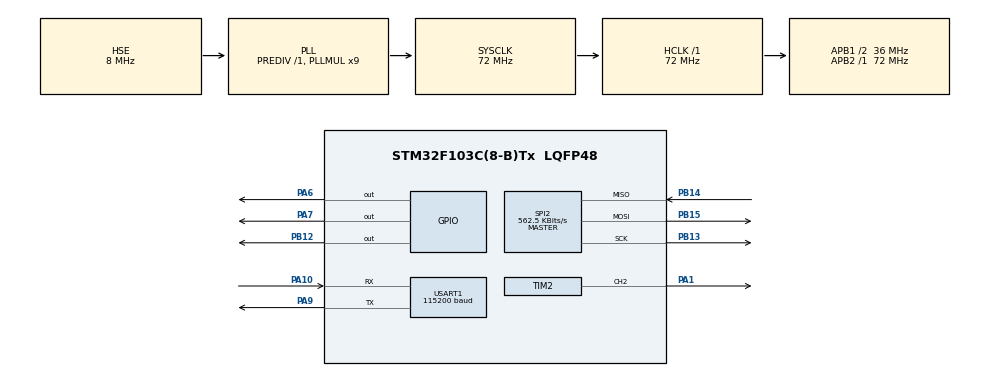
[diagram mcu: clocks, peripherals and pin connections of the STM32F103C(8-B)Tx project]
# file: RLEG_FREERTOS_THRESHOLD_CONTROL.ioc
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FREERTOS.HEAP_NUMBER=3
FREERTOS.Tasks01=DataLogging,0,128,StartTaskDataLogging,Default,NULL,Dynamic,NULL,NULL;EncoderReadings,3,128,StartTaskEncoderReadings,Default,NULL,Dynamic,NULL,NULL;ControlActuator,3,128,StartTaskActuator,Default,NULL,Dynamic,NULL,NULL
Mcu.Family=STM32F1
Mcu.Name=STM32F103C(8-B)Tx
Mcu.Package=LQFP48
NVIC.PriorityGroup=NVIC_PRIORITYGROUP_4
NVIC.TIM1_UP_IRQn=true\:0\:0\:false\:false\:true\:false\:false
NVIC.TimeBase=TIM1_UP_IRQn
NVIC.TimeBaseIP=TIM1
PA1.Signal=S_TIM2_CH2
PA10.Mode=Asynchronous
PA10.Signal=USART1_RX
PA13.Mode=Serial_Wire
PA13.Signal=SYS_JTMS-SWDIO
PA14.Mode=Serial_Wire
PA14.Signal=SYS_JTCK-SWCLK
PA6.Signal=GPIO_Output
PA7.Signal=GPIO_Output
PA9.Mode=Asynchronous
PA9.Signal=USART1_TX
PB12.GPIO_PuPd=GPIO_PULLUP
PB12.GPIO_Speed=GPIO_SPEED_FREQ_HIGH
PB12.PinState=GPIO_PIN_RESET
PB12.Signal=GPIO_Output
PB13.Mode=Full_Duplex_Master
PB13.Signal=SPI2_SCK
PB14.Mode=Full_Duplex_Master
PB14.Signal=SPI2_MISO
PB15.Mode=Full_Duplex_Master
PB15.Signal=SPI2_MOSI
PD0-OSC_IN.Mode=HSE-External-Oscillator
PD0-OSC_IN.Signal=RCC_OSC_IN
PD1-OSC_OUT.Mode=HSE-External-Oscillator
PD1-OSC_OUT.Signal=RCC_OSC_OUT
ProjectManager.HeapSize=0x200
ProjectManager.StackSize=0x400
ProjectManager.TargetToolchain=SW4STM32
RCC.ADCPresc=RCC_ADCPCLK2_DIV6
RCC.AHBFreq_Value=72000000
RCC.APB1CLKDivider=RCC_HCLK_DIV2
RCC.APB1Freq_Value=36000000
RCC.APB1TimFreq_Value=72000000
RCC.APB2Freq_Value=72000000
RCC.APB2TimFreq_Value=72000000
RCC.HCLKFreq_Value=72000000
RCC.PLLMUL=RCC_PLL_MUL9
RCC.PLLSourceVirtual=RCC_PLLSOURCE_HSE
RCC.SYSCLKFreq_VALUE=72000000
RCC.SYSCLKSource=RCC_SYSCLKSOURCE_PLLCLK
RCC.USBFreq_Value=48000000
RCC.USBPrescaler=RCC_USBCLKSOURCE_PLL_DIV1_5
SH.S_TIM2_CH2.0=TIM2_CH2,PWM Generation2 CH2
SPI2.BaudRatePrescaler=SPI_BAUDRATEPRESCALER_64
SPI2.CLKPhase=SPI_PHASE_1EDGE
SPI2.CalculateBaudRate=562.5 KBits/s
SPI2.Direction=SPI_DIRECTION_2LINES
SPI2.Mode=SPI_MODE_MASTER
SPI2.VirtualType=VM_MASTER
TIM2.Channel-PWM\ Generation2\ CH2=TIM_CHANNEL_2
TIM2.Period=99
TIM2.Prescaler=9
USART1.BaudRate=115200
USART1.VirtualMode=VM_ASYNC
VP_FREERTOS_VS_ENABLE.Mode=Enabled
VP_SYS_VS_tim1.Mode=TIM1
VP_TIM2_VS_ClockSourceINT.Mode=Internal
board=custom

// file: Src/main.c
/* USER CODE BEGIN Header */
/**
  ******************************************************************************
  * @file           : main.c
  * @brief          : Main program body
  ******************************************************************************
  * This notice applies to any and all portions of this file
  * that are not between comment pairs USER CODE BEGIN and
  * USER CODE END. Other portions of this file, whether
  * inserted by the user or by software development tools
  * are owned by their respective copyright owners.
  *
  * Copyright (c) 2019 STMicroelectronics International N.V.
  * All rights reserved.
  *
  * Redistribution and use in source and binary forms, with or without
  * modification, are permitted, provided that the following conditions are met:
  *
  * 1. Redistribution of source code must retain the above copyright notice,
  *    this list of conditions and the following disclaimer.
  * 2. Redistributions in binary form must reproduce the above copyright notice,
  *    this list of conditions and the following disclaimer in the documentation
  *    and/or other materials provided with the distribution.
  * 3. Neither the name of STMicroelectronics nor the names of other
  *    contributors to this software may be used to endorse or promote products
  *    derived from this software without specific written permission.
  * 4. This software, including modifications and/or derivative works of this
  *    software, must execute solely and exclusively on microcontroller or
  *    microprocessor devices manufactured by or for STMicroelectronics.
  * 5. Redistribution and use of this software other than as permitted under
  *    this license is void and will automatically terminate your rights under
  *    this license.
  *
  * THIS SOFTWARE IS PROVIDED BY STMICROELECTRONICS AND CONTRIBUTORS "AS IS"
  * AND ANY EXPRESS, IMPLIED OR STATUTORY WARRANTIES, INCLUDING, BUT NOT
  * LIMITED TO, THE IMPLIED WARRANTIES OF MERCHANTABILITY, FITNESS FOR A
  * PARTICULAR PURPOSE AND NON-INFRINGEMENT OF THIRD PARTY INTELLECTUAL PROPERTY
  * RIGHTS ARE DISCLAIMED TO THE FULLEST EXTENT PERMITTED BY LAW. IN NO EVENT
  * SHALL STMICROELECTRONICS OR CONTRIBUTORS BE LIABLE FOR ANY DIRECT, INDIRECT,
  * INCIDENTAL, SPECIAL, EXEMPLARY, OR CONSEQUENTIAL DAMAGES (INCLUDING, BUT NOT
  * LIMITED TO, PROCUREMENT OF SUBSTITUTE GOODS OR SERVICES; LOSS OF USE, DATA,
  * OR PROFITS; OR BUSINESS INTERRUPTION) HOWEVER CAUSED AND ON ANY THEORY OF
  * LIABILITY, WHETHER IN CONTRACT, STRICT LIABILITY, OR TORT (INCLUDING
  * NEGLIGENCE OR OTHERWISE) ARISING IN ANY WAY OUT OF THE USE OF THIS SOFTWARE,
  * EVEN IF ADVISED OF THE POSSIBILITY OF SUCH DAMAGE.
  *
  ******************************************************************************
  */
/* USER CODE END Header */

#include "main.h"
#include "cmsis_os.h"

/* USER CODE BEGIN Includes */
#include "encoder.h"
#include "legio.h"
#include <time.h> //use this to get time stamp. still needs implementation

/* USER CODE END Includes */

/* USER CODE BEGIN PD */
#define LOWER_OMEGA 60
#define UPPER_OMEGA 80
#define CONST_DUTY_CYCLE 20
#define ENCODER_SAMPLE_TIME 100
#define DATA_LOGGING_SAMPLE_TIME 100
#define CONTROL_SAMPLE_TIME 100

/* USER CODE END PD */

SPI_HandleTypeDef hspi2;

TIM_HandleTypeDef htim2;

UART_HandleTypeDef huart1;

osThreadId DataLoggingHandle;
osThreadId EncoderReadingsHandle;
osThreadId ControlActuatorHandle;
/* USER CODE BEGIN PV */

//global variables
float encoder_position;
int state; //actuation state
float act_lvl, d; //level of actuation and duty cycle definitions
float theta_0, theta_1, vel; //read angles and calculated angular velocity

/* USER CODE END PV */

void SystemClock_Config(void);
static void MX_GPIO_Init(void);
static void MX_USART1_UART_Init(void);
static void MX_TIM2_Init(void);
static void MX_SPI2_Init(void);
void StartTaskDataLogging(void const * argument);
void StartTaskEncoderReadings(void const * argument);
void StartTaskActuator(void const * argument);

int main(void)
{

  /* MCU Configuration--------------------------------------------------------*/

  /* Reset of all peripherals, Initializes the Flash interface and the Systick. */
  HAL_Init();

  /* Configure the system clock */
  SystemClock_Config();

  /* Initialize all configured peripherals */
  MX_GPIO_Init();
  MX_USART1_UART_Init();
  MX_TIM2_Init();
  MX_SPI2_Init();
  /* USER CODE BEGIN 2 */

  encoder_init();   //encoder initialization function
  encoder_set_zero_pos(); //encoder zeroing function

  state = 0; //initial actuation state

  /* USER CODE END 2 */

  /* Create the thread(s) */
  /* definition and creation of DataLogging */
  osThreadDef(DataLogging, StartTaskDataLogging, osPriorityNormal, 0, 128);
  DataLoggingHandle = osThreadCreate(osThread(DataLogging), NULL);

  /* definition and creation of EncoderReadings */
  osThreadDef(EncoderReadings, StartTaskEncoderReadings, osPriorityRealtime, 0, 128);
  EncoderReadingsHandle = osThreadCreate(osThread(EncoderReadings), NULL);

  /* definition and creation of ControlActuator */
  osThreadDef(ControlActuator, StartTaskActuator, osPriorityRealtime, 0, 128);
  ControlActuatorHandle = osThreadCreate(osThread(ControlActuator), NULL);

  /* Start scheduler */
  osKernelStart();

  /* We should never get here as control is now taken by the scheduler */

  /* Infinite loop */
  while (1)
  {

  }
}

void SystemClock_Config(void)
{
  RCC_OscInitTypeDef RCC_OscInitStruct = {0};
  RCC_ClkInitTypeDef RCC_ClkInitStruct = {0};

  /**Initializes the CPU, AHB and APB busses clocks
  */
  RCC_OscInitStruct.OscillatorType = RCC_OSCILLATORTYPE_HSE;
  RCC_OscInitStruct.HSEState = RCC_HSE_ON;
  RCC_OscInitStruct.HSEPredivValue = RCC_HSE_PREDIV_DIV1;
  RCC_OscInitStruct.HSIState = RCC_HSI_ON;
  RCC_OscInitStruct.PLL.PLLState = RCC_PLL_ON;
  RCC_OscInitStruct.PLL.PLLSource = RCC_PLLSOURCE_HSE;
  RCC_OscInitStruct.PLL.PLLMUL = RCC_PLL_MUL9;
  if (HAL_RCC_OscConfig(&RCC_OscInitStruct) != HAL_OK)
  {
    Error_Handler();
  }
  /**Initializes the CPU, AHB and APB busses clocks
  */
  RCC_ClkInitStruct.ClockType = RCC_CLOCKTYPE_HCLK|RCC_CLOCKTYPE_SYSCLK
                              |RCC_CLOCKTYPE_PCLK1|RCC_CLOCKTYPE_PCLK2;
  RCC_ClkInitStruct.SYSCLKSource = RCC_SYSCLKSOURCE_PLLCLK;
  RCC_ClkInitStruct.AHBCLKDivider = RCC_SYSCLK_DIV1;
  RCC_ClkInitStruct.APB1CLKDivider = RCC_HCLK_DIV2;
  RCC_ClkInitStruct.APB2CLKDivider = RCC_HCLK_DIV1;

  if (HAL_RCC_ClockConfig(&RCC_ClkInitStruct, FLASH_LATENCY_2) != HAL_OK)
  {
    Error_Handler();
  }
}

static void MX_SPI2_Init(void)
{

  /* SPI2 parameter configuration*/
  hspi2.Instance = SPI2;
  hspi2.Init.Mode = SPI_MODE_MASTER;
  hspi2.Init.Direction = SPI_DIRECTION_2LINES;
  hspi2.Init.DataSize = SPI_DATASIZE_8BIT;
  hspi2.Init.CLKPolarity = SPI_POLARITY_LOW;
  hspi2.Init.CLKPhase = SPI_PHASE_1EDGE;
  hspi2.Init.NSS = SPI_NSS_SOFT;
  hspi2.Init.BaudRatePrescaler = SPI_BAUDRATEPRESCALER_64;
  hspi2.Init.FirstBit = SPI_FIRSTBIT_MSB;
  hspi2.Init.TIMode = SPI_TIMODE_DISABLE;
  hspi2.Init.CRCCalculation = SPI_CRCCALCULATION_DISABLE;
  hspi2.Init.CRCPolynomial = 10;
  if (HAL_SPI_Init(&hspi2) != HAL_OK)
  {
    Error_Handler();
  }

}

static void MX_TIM2_Init(void)
{

  TIM_ClockConfigTypeDef sClockSourceConfig = {0};
  TIM_MasterConfigTypeDef sMasterConfig = {0};
  TIM_OC_InitTypeDef sConfigOC = {0};

  htim2.Instance = TIM2;
  htim2.Init.Prescaler = 9;
  htim2.Init.CounterMode = TIM_COUNTERMODE_UP;
  htim2.Init.Period = 99;
  htim2.Init.ClockDivision = TIM_CLOCKDIVISION_DIV1;
  htim2.Init.AutoReloadPreload = TIM_AUTORELOAD_PRELOAD_DISABLE;
  if (HAL_TIM_Base_Init(&htim2) != HAL_OK)
  {
    Error_Handler();
  }
  sClockSourceConfig.ClockSource = TIM_CLOCKSOURCE_INTERNAL;
  if (HAL_TIM_ConfigClockSource(&htim2, &sClockSourceConfig) != HAL_OK)
  {
    Error_Handler();
  }
  if (HAL_TIM_PWM_Init(&htim2) != HAL_OK)
  {
    Error_Handler();
  }
  sMasterConfig.MasterOutputTrigger = TIM_TRGO_RESET;
  sMasterConfig.MasterSlaveMode = TIM_MASTERSLAVEMODE_DISABLE;
  if (HAL_TIMEx_MasterConfigSynchronization(&htim2, &sMasterConfig) != HAL_OK)
  {
    Error_Handler();
  }
  sConfigOC.OCMode = TIM_OCMODE_PWM1;
  sConfigOC.Pulse = 0;
  sConfigOC.OCPolarity = TIM_OCPOLARITY_HIGH;
  sConfigOC.OCFastMode = TIM_OCFAST_DISABLE;
  if (HAL_TIM_PWM_ConfigChannel(&htim2, &sConfigOC, TIM_CHANNEL_2) != HAL_OK)
  {
    Error_Handler();
  }
  HAL_TIM_MspPostInit(&htim2);

}

static void MX_USART1_UART_Init(void)
{

  huart1.Instance = USART1;
  huart1.Init.BaudRate = 115200;
  huart1.Init.WordLength = UART_WORDLENGTH_8B;
  huart1.Init.StopBits = UART_STOPBITS_1;
  huart1.Init.Parity = UART_PARITY_NONE;
  huart1.Init.Mode = UART_MODE_TX_RX;
  huart1.Init.HwFlowCtl = UART_HWCONTROL_NONE;
  huart1.Init.OverSampling = UART_OVERSAMPLING_16;
  if (HAL_UART_Init(&huart1) != HAL_OK)
  {
    Error_Handler();
  }

}

static void MX_GPIO_Init(void)
{
  GPIO_InitTypeDef GPIO_InitStruct = {0};

  /* GPIO Ports Clock Enable */
  __HAL_RCC_GPIOD_CLK_ENABLE();
  __HAL_RCC_GPIOA_CLK_ENABLE();
  __HAL_RCC_GPIOB_CLK_ENABLE();

  /*Configure GPIO pin Output Level */
  HAL_GPIO_WritePin(GPIOA, GPIO_PIN_6|GPIO_PIN_7, GPIO_PIN_RESET);

  /*Configure GPIO pin Output Level */
  HAL_GPIO_WritePin(GPIOB, GPIO_PIN_12, GPIO_PIN_RESET);

  /*Configure GPIO pins : PA6 PA7 */
  GPIO_InitStruct.Pin = GPIO_PIN_6|GPIO_PIN_7;
  GPIO_InitStruct.Mode = GPIO_MODE_OUTPUT_PP;
  GPIO_InitStruct.Pull = GPIO_NOPULL;
  GPIO_InitStruct.Speed = GPIO_SPEED_FREQ_LOW;
  HAL_GPIO_Init(GPIOA, &GPIO_InitStruct);

  /*Configure GPIO pin : PB12 */
  GPIO_InitStruct.Pin = GPIO_PIN_12;
  GPIO_InitStruct.Mode = GPIO_MODE_OUTPUT_PP;
  GPIO_InitStruct.Pull = GPIO_PULLUP;
  GPIO_InitStruct.Speed = GPIO_SPEED_FREQ_HIGH;
  HAL_GPIO_Init(GPIOB, &GPIO_InitStruct);

}

void StartTaskDataLogging(void const * argument)
{

  /* USER CODE BEGIN 5 */
  /* Infinite loop */
  for(;;)
  {
     write_sampled_data(encoder_position, vel, state); //writes data to SD card
	 osDelay(DATA_LOGGING_SAMPLE_TIME); //sample time delay
  }
  /* USER CODE END 5 */
}

/* USER CODE BEGIN Header_StartTaskEncoderReadings */
///**
//* @brief Function implementing the EncoderReadings thread.
//* @param argument: Not used
//* @retval None
//*/
/* USER CODE END Header_StartTaskEncoderReadings */
void StartTaskEncoderReadings(void const * argument)
{
  /* USER CODE BEGIN StartTaskEncoderReadings */
  theta_0 = 0;
  encoder_read_pos(&encoder_position);
  theta_1 = encoder_position;
  float v = 0;
  /* Infinite loop */
  for(;;)
  {
  	 theta_0 = theta_1; //gets last iteration value of read position
  	 encoder_read_pos(&encoder_position);
  	 theta_1 = encoder_position; //new angle reading
  	 /* Calculates angular velocity */
  	 v = (theta_1 - theta_0)/(ENCODER_SAMPLE_TIME*0.001); //ang velocity in degrees/s
  	 if (v<0){vel = -v;} //gets vel as an absolute value
  	 else{vel = v;}
     osDelay(ENCODER_SAMPLE_TIME); //sample time delay
  }
  /* USER CODE END StartTaskEncoderReadings */
}

void StartTaskActuator(void const * argument)
{
  /* USER CODE BEGIN StartTaskActuator */
  pwm_init(); //initialize pwm channel

  /* Infinite loop */
  for(;;)
  {
	  /* Checks threshold */
	  if((vel < LOWER_OMEGA)  && state==1){ //state == 1 means fixed actuation state
		state = 0; // changes to no actuation state
		d = 0;
	  }

	  else if ((vel > UPPER_OMEGA) && state==0){ //state == 0 means no actuation state
		state = 1; // changes to state with fixed actuation
		d = CONST_DUTY_CYCLE;
	  }

	  act_lvl = d;
//  	LED_actuation_mode(state); //test this
	  pwm_set_duty_cycle(act_lvl); //set pwm duty cycle
    osDelay(CONTROL_SAMPLE_TIME); //sample time delay
  }
  /* USER CODE END StartTaskActuator */
}

void HAL_TIM_PeriodElapsedCallback(TIM_HandleTypeDef *htim)
{
  if (htim->Instance == TIM1) {
    HAL_IncTick();
  }
}

void Error_Handler(void)
{
}

/************************ (C) COPYRIGHT STMicroelectronics *****END OF FILE****/
